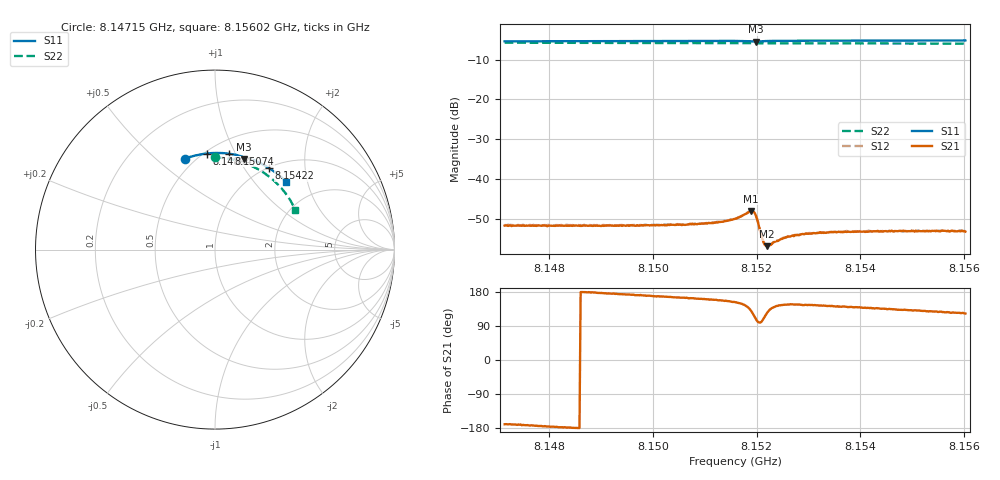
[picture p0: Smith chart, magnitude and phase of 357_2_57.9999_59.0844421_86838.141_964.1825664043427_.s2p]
#  HZ  S  RI  R  50.00
! Rohde & Schwarz Vector Network Analyzer
! Rohde-Schwarz,ZNB20-2Port,1311601062101988,3.16
! Created: UTC 3/21/2024, 1:06:15 AM
! freq[Hz]  re:S11  im:S11  re:S21  im:S21  re:S12  im:S12  re:S22  im:S22
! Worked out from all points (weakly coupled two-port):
!   401 points, 8.14715 GHz to 8.15602 GHz, reference 50 ohm
!   highest |S21| = -47.94 dB at 8.15189 GHz (marker M1); lowest = -56.8 dB at 8.15221 GHz (marker M2)
!   lowest |S11| = -5.5 dB at 8.15198 GHz (marker M3), VSWR 3.26, Z = 37.3 + j52.5 ohm
!   |S11| at or under -10 dB: nowhere
!   |S22| runs from -6.0 to -5.8 dB; largest |S21 - S12| = 0.00013
!   S11 on the Smith chart (normalised r, x): 8.14715 GHz: 0.44, +0.63; 8.14894 GHz: 0.52, +0.78; 8.15074 GHz: 0.62, +0.94; 8.15422 GHz: 1.01, +1.31; 8.15602 GHz: 1.39, +1.49
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8.147146e9  -0.1678 0.5069  -0.00258 -0.000476  -0.00264 -0.000463  -0.000684 0.5133
8.148633e9  -0.0673 0.5324  -0.0026 3.17e-05  -0.00264 7.32e-05  0.0955 0.5026
8.148944e9  -0.0459 0.5354  -0.00261 0.00014  -0.00265 0.000167  0.1153 0.498
8.15012e9  0.0359 0.5381  -0.00259 0.000551  -0.00262 0.000605  0.1871 0.474
8.150741e9  0.0792 0.5344  -0.0026 0.000791  -0.00265 0.000874  0.2232 0.4571
8.151207e9  0.1117 0.5292  -0.00268 0.00103  -0.00267 0.00108  0.2493 0.4425
8.151584e9  0.1386 0.5224  -0.00284 0.00146  -0.00288 0.00152  0.2698 0.4298
8.151895e9  0.1597 0.5099  -0.00256 0.00308  -0.00253 0.00312  0.2858 0.4182
8.151939e9  0.1602 0.5069  -0.00194 0.00343  -0.00194 0.00345  0.2879 0.4166
8.151984e9  0.1593 0.5057  -0.00113 0.00336  -0.00108 0.0034  0.2902 0.4148
8.152006e9  0.159 0.5059  -0.000764 0.00314  -0.000765 0.00315  0.2912 0.4141
8.152117e9  0.1633 0.5106  -0.000463 0.00168  -0.000447 0.00171  0.2968 0.4103
8.152161e9  0.1669 0.5112  -0.000643 0.00135  -0.000657 0.0014  0.2992 0.4085
8.152206e9  0.1705 0.5113  -0.000838 0.00119  -0.000838 0.00123  0.3015 0.4069
8.15225e9  0.1743 0.5111  -0.00101 0.0011  -0.000974 0.00112  0.3036 0.4051
8.152383e9  0.1844 0.509  -0.00134 0.00102  -0.00133 0.00105  0.3102 0.3998
8.152583e9  0.1986 0.5047  -0.00157 0.00106  -0.00156 0.00108  0.3201 0.3917
8.152738e9  0.2091 0.501  -0.00167 0.00112  -0.00166 0.00112  0.3275 0.3852
8.153071e9  0.231 0.4921  -0.00172 0.00119  -0.0017 0.00125  0.3428 0.3709
8.154225e9  0.3016 0.4543  -0.0016 0.00153  -0.00158 0.00154  0.3909 0.3165
8.154558e9  0.3208 0.4416  -0.00158 0.00159  -0.00156 0.00165  0.4034 0.2998
8.156022e9  0.3976 0.3767  -0.00119 0.00186  -0.00122 0.00188  0.4484 0.2207
